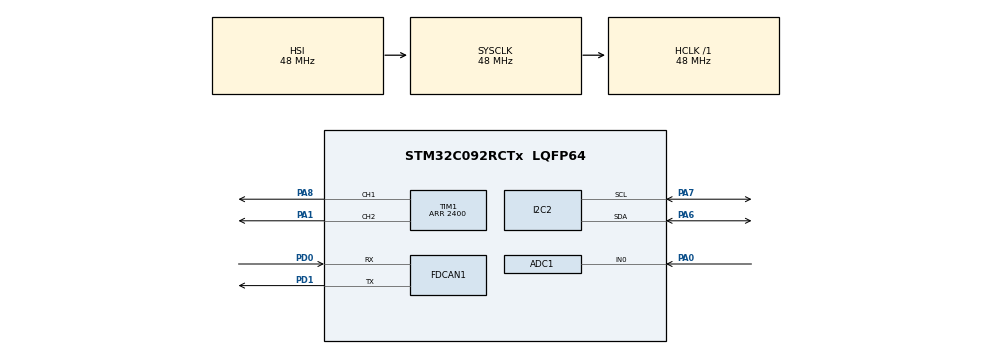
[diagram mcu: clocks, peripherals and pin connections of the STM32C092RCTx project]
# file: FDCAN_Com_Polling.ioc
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ADC1.NbrOfConversionFlag=0
ADC1.SelectedChannel=ADC_CHANNEL_0
ADC1.master=1
FDCAN1.AutoRetransmission=ENABLE
FDCAN1.CalculateBaudRateData=1000000
FDCAN1.CalculateBaudRateNominal=1000000
FDCAN1.CalculateTimeBitNominal=1000
FDCAN1.CalculateTimeQuantumNominal=20.833333333333332
FDCAN1.DataSyncJumpWidth=6
FDCAN1.DataTimeSeg1=17
FDCAN1.DataTimeSeg2=6
FDCAN1.FrameFormat=FDCAN_FRAME_FD_BRS
FDCAN1.NominalPrescaler=1
FDCAN1.NominalSyncJumpWidth=12
FDCAN1.NominalTimeSeg1=35
FDCAN1.NominalTimeSeg2=12
FDCAN1.StdFiltersNbr=1
FDCAN1.TransmitPause=ENABLE
I2C2.Timing=0x10805D88
Mcu.Family=STM32C0
Mcu.Name=STM32C092RCTx
Mcu.Package=LQFP64
NUCLEO-C092RC.BUTTON=2
NUCLEO-C092RC.LD1=true
NUCLEO-C092RC.LD2=true
NUCLEO-C092RC.VCP=true
NVIC.TIM2_IRQn=true\:0\:0\:false\:false\:true\:true\:true\:true
PA0.Mode=IN0
PA0.Signal=ADC1_IN0
PA1.Signal=S_TIM1_CH2
PA6.Mode=I2C
PA6.Signal=I2C2_SDA
PA7.Mode=I2C
PA7.Signal=I2C2_SCL
PA8.Signal=S_TIM1_CH1
PD0.Mode=FDCAN_Activate
PD0.Signal=FDCAN1_RX
PD1.Mode=FDCAN_Activate
PD1.Signal=FDCAN1_TX
ProjectManager.HeapSize=0x200
ProjectManager.StackSize=0x400
ProjectManager.TargetToolchain=EWARM V9.20
RCC.ADCFreq_Value=48000000
RCC.AHBFreq_Value=48000000
RCC.CortexFreq_Value=48000000
RCC.EXTERNAL_CLOCK_VALUE=12288000
RCC.HCLKFreq_Value=48000000
RCC.HSE_VALUE=8000000
RCC.HSISYSCLKDivider=RCC_HSI_DIV1
RCC.HSI_VALUE=48000000
RCC.LSE_VALUE=32768
RCC.SYSCLKFreq_VALUE=48000000
SH.S_TIM1_CH1.0=TIM1_CH1,PWM Generation1 CH1
SH.S_TIM1_CH2.0=TIM1_CH2,PWM Generation2 CH2
TIM1.Channel-PWM\ Generation1\ CH1=TIM_CHANNEL_1
TIM1.Channel-PWM\ Generation2\ CH2=TIM_CHANNEL_2
TIM1.Period=2400
VP_NUCLEO-C092RC_VS_BSP_COMMON.Mode=COMMON
VP_TIM2_VS_ClockSourceINT.Mode=Internal
board=NUCLEO-C092RC

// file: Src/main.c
/* USER CODE BEGIN Header */
/**
  ******************************************************************************
  * @file    FDCAN/FDCAN_Com_Polling/Src/main.c
  * @author  MCD Application Team
  * @brief   This sample code shows how to achieve Polling Process Communication
  *          between two FDCAN units.
  ******************************************************************************
  * @attention
  *
  * Copyright (c) 2024 STMicroelectronics.
  * All rights reserved.
  *
  * This software is licensed under terms that can be found in the LICENSE file
  * in the root directory of this software component.
  * If no LICENSE file comes with this software, it is provided AS-IS.
  *
  ******************************************************************************
  */
/* USER CODE END Header */
#include "main.h"

/* USER CODE BEGIN Includes */
#include <stdio.h>
/* USER CODE END Includes */

/* USER CODE BEGIN PD */
// INA219 I2C Address and Register Map
#define INA219_ADDR             0x40
#define INA219_REG_CONFIG       0x00
#define INA219_REG_CURRENT      0x04
#define INA219_REG_CALIBRATION  0x05
/* USER CODE END PD */

/* USER CODE BEGIN PM */
#define COUNTOF(BUFFER) (sizeof((BUFFER)) / sizeof(*(BUFFER)))
/* USER CODE END PM */

COM_InitTypeDef BspCOMInit;
ADC_HandleTypeDef hadc1;

FDCAN_HandleTypeDef hfdcan1;

I2C_HandleTypeDef hi2c2;

TIM_HandleTypeDef htim1;
TIM_HandleTypeDef htim2;

/* USER CODE BEGIN PV */
extern UART_HandleTypeDef huart2;

// Control System State
volatile int state = 0;

// PI Controller Gains (You will need to tune these in Python!)
float kp = 1.5f;
float ki = 0.05f;
float desired_current = 150.0f; // Target current in milliamps

// Data Buffers (400 samples = 400 milliseconds)
int log_index[400];
float log_desired[400];
float log_actual[400];
/* USER CODE END PV */

void SystemClock_Config(void);
static void MX_GPIO_Init(void);
static void MX_FDCAN1_Init(void);
static void MX_ADC1_Init(void);
static void MX_I2C2_Init(void);
static void MX_TIM1_Init(void);
static void MX_TIM2_Init(void);
/* USER CODE BEGIN PFP */
void init_ina219(void);
float read_ina219(void);
void writeINA219(int reg, int value);
signed short readINA219(unsigned char reg);
uint32_t read_adc(void);

/* USER CODE END PFP */

int main(void)
{

  /* USER CODE BEGIN 1 */

  /* STM32C0xx HAL library initialization:
       - Configure the Flash prefetch
       - Systick timer is configured by default as source of time base, but user
         can eventually implement his proper time base source (a general purpose
         timer for example or other time source), keeping in mind that Time base
         duration should be kept 1ms since PPP_TIMEOUT_VALUEs are defined and
         handled in milliseconds basis.
       - Low Level Initialization
     */
  /* USER CODE END 1 */

  /* MCU Configuration--------------------------------------------------------*/

  /* Reset of all peripherals, Initializes the Flash interface and the Systick. */
  HAL_Init();

  /* Configure the system clock */
  SystemClock_Config();

  /* USER CODE BEGIN SysInit */
  /* Configure LED1 and LED2 */
  BSP_LED_Init(LED1);
  BSP_LED_Init(LED2);

  /* Configure User push-button in interrupt mode */
  BSP_PB_Init(BUTTON_USER, BUTTON_MODE_EXTI);

  /* USER CODE END SysInit */

  /* Initialize all configured peripherals */
  MX_GPIO_Init();
  MX_FDCAN1_Init();
  MX_ADC1_Init();
  MX_I2C2_Init();
  MX_TIM1_Init();
  MX_TIM2_Init();
  /* USER CODE BEGIN 2 */
  init_ina219();

  // Start the 20kHz PWM on both channels (Set to 2400 = OFF/Brake)
  __HAL_TIM_SET_COMPARE(&htim1, TIM_CHANNEL_1, 2400);
  __HAL_TIM_SET_COMPARE(&htim1, TIM_CHANNEL_2, 2400);
  HAL_TIM_PWM_Start(&htim1, TIM_CHANNEL_1);
  HAL_TIM_PWM_Start(&htim1, TIM_CHANNEL_2);

  // Start the 1kHz interrupt timer
  HAL_TIM_Base_Start_IT(&htim2);

  printf("Ready! Send 'a' to trigger the step response.\r\n");
  /* USER CODE END 2 */

  /* Initialize leds */
  BSP_LED_Init(LED_GREEN);
  BSP_LED_Init(LED_BLUE);

  /* Initialize User push-button without interrupt mode. */
  BSP_PB_Init(BUTTON_USER, BUTTON_MODE_GPIO);

  /* Initialize COM1 port (115200, 8 bits (7-bit data + 1 stop bit), no parity */
  BspCOMInit.BaudRate   = 115200;
  BspCOMInit.WordLength = COM_WORDLENGTH_8B;
  BspCOMInit.StopBits   = COM_STOPBITS_1;
  BspCOMInit.Parity     = COM_PARITY_NONE;
  BspCOMInit.HwFlowCtl  = COM_HWCONTROL_NONE;
  if (BSP_COM_Init(COM1, &BspCOMInit) != BSP_ERROR_NONE)
  {
    Error_Handler();
  }

  /* Infinite loop */
  /* USER CODE BEGIN WHILE */
  while (1)
  {
    uint8_t rx_byte = 0;

      // 1. Wait for serial input from Python
      if (HAL_UART_Receive(&huart2, &rx_byte, 1, 10) == HAL_OK) {
          if (rx_byte == 'a') {

              // 2. Trigger the control loop
              state = 1;

              // 3. Block this loop until the interrupt finishes 400 cycles
              while (state == 1) {
                  // Do nothing, let the 1kHz interrupt do the work
              }

              // 4. Send the recorded data back to Python in CSV format
              for (int i = 0; i < 400; i++) {
                  // Printing floats can be tricky on STM32, so we cast to int for safe transmission
                  printf("%d, %d, %d\r\n", log_index[i], (int)log_desired[i], (int)log_actual[i]);
              }

              // Ensure desired current is reset for the next run
              if (desired_current < 0) {
                  desired_current = -desired_current;
              }
          }
        }
    /* USER CODE END WHILE */
  }
}

void SystemClock_Config(void)
{
  RCC_OscInitTypeDef RCC_OscInitStruct = {0};
  RCC_ClkInitTypeDef RCC_ClkInitStruct = {0};

  __HAL_FLASH_SET_LATENCY(FLASH_LATENCY_1);

  /** Initializes the RCC Oscillators according to the specified parameters
  * in the RCC_OscInitTypeDef structure.
  */
  RCC_OscInitStruct.OscillatorType = RCC_OSCILLATORTYPE_HSI;
  RCC_OscInitStruct.HSIState = RCC_HSI_ON;
  RCC_OscInitStruct.HSIDiv = RCC_HSI_DIV1;
  RCC_OscInitStruct.HSICalibrationValue = RCC_HSICALIBRATION_DEFAULT;
  if (HAL_RCC_OscConfig(&RCC_OscInitStruct) != HAL_OK)
  {
    Error_Handler();
  }

  /** Initializes the CPU, AHB and APB buses clocks
  */
  RCC_ClkInitStruct.ClockType = RCC_CLOCKTYPE_HCLK|RCC_CLOCKTYPE_SYSCLK
                              |RCC_CLOCKTYPE_PCLK1;
  RCC_ClkInitStruct.SYSCLKSource = RCC_SYSCLKSOURCE_HSI;
  RCC_ClkInitStruct.SYSCLKDivider = RCC_SYSCLK_DIV1;
  RCC_ClkInitStruct.AHBCLKDivider = RCC_HCLK_DIV1;
  RCC_ClkInitStruct.APB1CLKDivider = RCC_APB1_DIV1;

  if (HAL_RCC_ClockConfig(&RCC_ClkInitStruct, FLASH_LATENCY_1) != HAL_OK)
  {
    Error_Handler();
  }
}

static void MX_ADC1_Init(void)
{

  ADC_ChannelConfTypeDef sConfig = {0};

  /** Configure the global features of the ADC (Clock, Resolution, Data Alignment and number of conversion)
  */
  hadc1.Instance = ADC1;
  hadc1.Init.ClockPrescaler = ADC_CLOCK_SYNC_PCLK_DIV2;
  hadc1.Init.Resolution = ADC_RESOLUTION_12B;
  hadc1.Init.DataAlign = ADC_DATAALIGN_RIGHT;
  hadc1.Init.ScanConvMode = ADC_SCAN_SEQ_FIXED;
  hadc1.Init.EOCSelection = ADC_EOC_SINGLE_CONV;
  hadc1.Init.LowPowerAutoWait = DISABLE;
  hadc1.Init.LowPowerAutoPowerOff = DISABLE;
  hadc1.Init.ContinuousConvMode = DISABLE;
  hadc1.Init.NbrOfConversion = 1;
  hadc1.Init.DiscontinuousConvMode = DISABLE;
  hadc1.Init.ExternalTrigConv = ADC_SOFTWARE_START;
  hadc1.Init.ExternalTrigConvEdge = ADC_EXTERNALTRIGCONVEDGE_NONE;
  hadc1.Init.DMAContinuousRequests = DISABLE;
  hadc1.Init.Overrun = ADC_OVR_DATA_PRESERVED;
  hadc1.Init.SamplingTimeCommon1 = ADC_SAMPLETIME_1CYCLE_5;
  hadc1.Init.OversamplingMode = DISABLE;
  hadc1.Init.TriggerFrequencyMode = ADC_TRIGGER_FREQ_HIGH;
  if (HAL_ADC_Init(&hadc1) != HAL_OK)
  {
    Error_Handler();
  }

  /** Configure Regular Channel
  */
  sConfig.Channel = ADC_CHANNEL_0;
  sConfig.Rank = ADC_RANK_CHANNEL_NUMBER;
  if (HAL_ADC_ConfigChannel(&hadc1, &sConfig) != HAL_OK)
  {
    Error_Handler();
  }

}

static void MX_FDCAN1_Init(void)
{

  hfdcan1.Instance = FDCAN1;
  hfdcan1.Init.ClockDivider = FDCAN_CLOCK_DIV1;
  hfdcan1.Init.FrameFormat = FDCAN_FRAME_FD_BRS;
  hfdcan1.Init.Mode = FDCAN_MODE_NORMAL;
  hfdcan1.Init.AutoRetransmission = ENABLE;
  hfdcan1.Init.TransmitPause = ENABLE;
  hfdcan1.Init.ProtocolException = DISABLE;
  hfdcan1.Init.NominalPrescaler = 1;
  hfdcan1.Init.NominalSyncJumpWidth = 12;
  hfdcan1.Init.NominalTimeSeg1 = 35;
  hfdcan1.Init.NominalTimeSeg2 = 12;
  hfdcan1.Init.DataPrescaler = 1;
  hfdcan1.Init.DataSyncJumpWidth = 6;
  hfdcan1.Init.DataTimeSeg1 = 17;
  hfdcan1.Init.DataTimeSeg2 = 6;
  hfdcan1.Init.StdFiltersNbr = 1;
  hfdcan1.Init.ExtFiltersNbr = 0;
  hfdcan1.Init.TxFifoQueueMode = FDCAN_TX_FIFO_OPERATION;
  if (HAL_FDCAN_Init(&hfdcan1) != HAL_OK)
  {
    Error_Handler();
  }

}

static void MX_I2C2_Init(void)
{

  hi2c2.Instance = I2C2;
  hi2c2.Init.Timing = 0x10805D88;
  hi2c2.Init.OwnAddress1 = 0;
  hi2c2.Init.AddressingMode = I2C_ADDRESSINGMODE_7BIT;
  hi2c2.Init.DualAddressMode = I2C_DUALADDRESS_DISABLE;
  hi2c2.Init.OwnAddress2 = 0;
  hi2c2.Init.OwnAddress2Masks = I2C_OA2_NOMASK;
  hi2c2.Init.GeneralCallMode = I2C_GENERALCALL_DISABLE;
  hi2c2.Init.NoStretchMode = I2C_NOSTRETCH_DISABLE;
  if (HAL_I2C_Init(&hi2c2) != HAL_OK)
  {
    Error_Handler();
  }

  /** Configure Analogue filter
  */
  if (HAL_I2CEx_ConfigAnalogFilter(&hi2c2, I2C_ANALOGFILTER_ENABLE) != HAL_OK)
  {
    Error_Handler();
  }

  /** Configure Digital filter
  */
  if (HAL_I2CEx_ConfigDigitalFilter(&hi2c2, 0) != HAL_OK)
  {
    Error_Handler();
  }

}

static void MX_TIM1_Init(void)
{

  TIM_MasterConfigTypeDef sMasterConfig = {0};
  TIM_OC_InitTypeDef sConfigOC = {0};
  TIM_BreakDeadTimeConfigTypeDef sBreakDeadTimeConfig = {0};

  htim1.Instance = TIM1;
  htim1.Init.Prescaler = 0;
  htim1.Init.CounterMode = TIM_COUNTERMODE_UP;
  htim1.Init.Period = 2400;
  htim1.Init.ClockDivision = TIM_CLOCKDIVISION_DIV1;
  htim1.Init.RepetitionCounter = 0;
  htim1.Init.AutoReloadPreload = TIM_AUTORELOAD_PRELOAD_DISABLE;
  if (HAL_TIM_PWM_Init(&htim1) != HAL_OK)
  {
    Error_Handler();
  }
  sMasterConfig.MasterOutputTrigger = TIM_TRGO_RESET;
  sMasterConfig.MasterOutputTrigger2 = TIM_TRGO2_RESET;
  sMasterConfig.MasterSlaveMode = TIM_MASTERSLAVEMODE_DISABLE;
  if (HAL_TIMEx_MasterConfigSynchronization(&htim1, &sMasterConfig) != HAL_OK)
  {
    Error_Handler();
  }
  sConfigOC.OCMode = TIM_OCMODE_PWM1;
  sConfigOC.Pulse = 0;
  sConfigOC.OCPolarity = TIM_OCPOLARITY_HIGH;
  sConfigOC.OCNPolarity = TIM_OCNPOLARITY_HIGH;
  sConfigOC.OCFastMode = TIM_OCFAST_DISABLE;
  sConfigOC.OCIdleState = TIM_OCIDLESTATE_RESET;
  sConfigOC.OCNIdleState = TIM_OCNIDLESTATE_RESET;
  if (HAL_TIM_PWM_ConfigChannel(&htim1, &sConfigOC, TIM_CHANNEL_1) != HAL_OK)
  {
    Error_Handler();
  }
  if (HAL_TIM_PWM_ConfigChannel(&htim1, &sConfigOC, TIM_CHANNEL_2) != HAL_OK)
  {
    Error_Handler();
  }
  sBreakDeadTimeConfig.OffStateRunMode = TIM_OSSR_DISABLE;
  sBreakDeadTimeConfig.OffStateIDLEMode = TIM_OSSI_DISABLE;
  sBreakDeadTimeConfig.LockLevel = TIM_LOCKLEVEL_OFF;
  sBreakDeadTimeConfig.DeadTime = 0;
  sBreakDeadTimeConfig.BreakState = TIM_BREAK_DISABLE;
  sBreakDeadTimeConfig.BreakPolarity = TIM_BREAKPOLARITY_HIGH;
  sBreakDeadTimeConfig.BreakFilter = 0;
  sBreakDeadTimeConfig.BreakAFMode = TIM_BREAK_AFMODE_INPUT;
  sBreakDeadTimeConfig.Break2State = TIM_BREAK2_DISABLE;
  sBreakDeadTimeConfig.Break2Polarity = TIM_BREAK2POLARITY_HIGH;
  sBreakDeadTimeConfig.Break2Filter = 0;
  sBreakDeadTimeConfig.Break2AFMode = TIM_BREAK_AFMODE_INPUT;
  sBreakDeadTimeConfig.AutomaticOutput = TIM_AUTOMATICOUTPUT_DISABLE;
  if (HAL_TIMEx_ConfigBreakDeadTime(&htim1, &sBreakDeadTimeConfig) != HAL_OK)
  {
    Error_Handler();
  }
  HAL_TIM_MspPostInit(&htim1);

}

static void MX_TIM2_Init(void)
{

  TIM_ClockConfigTypeDef sClockSourceConfig = {0};
  TIM_MasterConfigTypeDef sMasterConfig = {0};

  htim2.Instance = TIM2;
  htim2.Init.Prescaler = 0;
  htim2.Init.CounterMode = TIM_COUNTERMODE_UP;
  htim2.Init.Period = 4294967295;
  htim2.Init.ClockDivision = TIM_CLOCKDIVISION_DIV1;
  htim2.Init.AutoReloadPreload = TIM_AUTORELOAD_PRELOAD_DISABLE;
  if (HAL_TIM_Base_Init(&htim2) != HAL_OK)
  {
    Error_Handler();
  }
  sClockSourceConfig.ClockSource = TIM_CLOCKSOURCE_INTERNAL;
  if (HAL_TIM_ConfigClockSource(&htim2, &sClockSourceConfig) != HAL_OK)
  {
    Error_Handler();
  }
  sMasterConfig.MasterOutputTrigger = TIM_TRGO_RESET;
  sMasterConfig.MasterSlaveMode = TIM_MASTERSLAVEMODE_DISABLE;
  if (HAL_TIMEx_MasterConfigSynchronization(&htim2, &sMasterConfig) != HAL_OK)
  {
    Error_Handler();
  }

}

static void MX_GPIO_Init(void)
{

  /* GPIO Ports Clock Enable */
  __HAL_RCC_GPIOA_CLK_ENABLE();
  __HAL_RCC_GPIOD_CLK_ENABLE();

}

/* USER CODE BEGIN 4 */
// Retargets printf() to output via the Virtual COM Port (USB)
int _write(int file, char *ptr, int len) {
    HAL_UART_Transmit(&huart2, (uint8_t*)ptr, len, HAL_MAX_DELAY);
    return len;
}

// Polling wrapper for the ADC (Potentiometer)
uint32_t read_adc(void) {
    uint32_t raw;
    HAL_ADC_Start(&hadc1);
    if (HAL_ADC_PollForConversion(&hadc1, 10) == HAL_OK) {
        raw = HAL_ADC_GetValue(&hadc1);
    } else {
        raw = 0;
    }
    HAL_ADC_Stop(&hadc1);
    return raw;
}

// INA219 Configuration
void init_ina219(void) {
    // set the INA219 sensitivity - 10 bit, plus/minus160mV, 148us per sample
    unsigned short ina219_calValue = 1024;
    unsigned short ina219_config = 0b0011000010001111;
    writeINA219(INA219_REG_CALIBRATION, ina219_calValue);
    writeINA219(INA219_REG_CONFIG, ina219_config);
}

// Read current as a float (Will not print correctly via printf without linker flags)
float read_ina219(void) {
    float ma = 0;
    signed short value = readINA219(INA219_REG_CURRENT);
    ma = value / 3.0f;
    return ma;
}

// Write 2 bytes over I2C
void writeINA219(int reg, int value) {
    uint8_t buf[3];
    buf[0] = reg;
    buf[1] = value >> 8;
    buf[2] = value & 0xff;
    HAL_I2C_Master_Transmit(&hi2c2, INA219_ADDR << 1, buf, 3, 10);
}

// Read 2 bytes over I2C
signed short readINA219(unsigned char reg) {
    HAL_I2C_Master_Transmit(&hi2c2, INA219_ADDR << 1, &reg, 1, 10);
    uint8_t buffer[2];
    HAL_I2C_Master_Receive(&hi2c2, INA219_ADDR << 1, buffer, 2, 10);
    signed short value = (buffer[0] << 8) | buffer[1];
    return value;
}

uint8_t rx_byte = 0;

      // 1. Wait for serial input from Python
      if (HAL_UART_Receive(&huart2, &rx_byte, 1, 10) == HAL_OK) {
          if (rx_byte == 'a') {

              // 2. Trigger the control loop
              state = 1;

              // 3. Block this loop until the interrupt finishes 400 cycles
              while (state == 1) {
                  // Do nothing, let the 1kHz interrupt do the work
              }

              // 4. Send the recorded data back to Python in CSV format
              for (int i = 0; i < 400; i++) {
                  // Printing floats can be tricky on STM32, so we cast to int for safe transmission
                  printf("%d, %d, %d\r\n", log_index[i], (int)log_desired[i], (int)log_actual[i]);
              }

              // Ensure desired current is reset for the next run
              if (desired_current < 0) {
                  desired_current = -desired_current;
              }
          }
      }

/**
  * @brief  BSP User push-button callback
  * @param  Button Specifies the pin connected EXTI line
  * @retval None.
  */
void BSP_PB_Callback(Button_TypeDef Button)
{
  if (Button == BUTTON_USER)
  {
    /* Turn LED1 off */
    BSP_LED_Off(LED1);

    /* Add message to TX FIFO */
    if (HAL_FDCAN_AddMessageToTxFifoQ(&hfdcan1, &txHeader, txData) != HAL_OK)
    {
      Error_Handler();
    }

    /* Delay for simple button debounce */
    HAL_Delay(100U);
  }
}

/**
  * @brief  Compares two buffers.
  * @param  pBuffer1 buffer to be compared.
  * @param  pBuffer2 buffer to be compared.
  * @param  BufferLength: buffer's length.
  * @retval 0: pBuffer1 is identical to pBuffer2
  * @retval 1: pBuffer1 differs from pBuffer2
  */
static uint32_t BufferCmp8b(const uint8_t *pBuffer1, const uint8_t *pBuffer2, uint16_t BufferLength)
{
  while (BufferLength--)
  {
    if (*pBuffer1 != *pBuffer2)
    {
      return 1U;
    }

    pBuffer1++;
    pBuffer2++;
  }
  return 0U;
}
/* USER CODE END 4 */

void Error_Handler(void)
{
  /* USER CODE BEGIN Error_Handler_Debug */
  /* User can add his own implementation to report the HAL error return state */

  while (1)
  {
    /* Toggle LED2 on */
    BSP_LED_Toggle(LED2);

    /* 1s delay */
    HAL_Delay(1000U);
  }
  /* USER CODE END Error_Handler_Debug */
}
